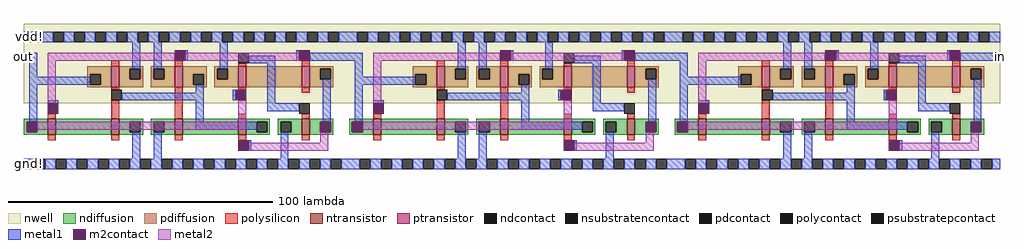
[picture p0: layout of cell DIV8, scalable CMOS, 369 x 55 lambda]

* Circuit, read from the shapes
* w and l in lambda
.subckt DIV8 gnd! in out vdd!
M1 n1 n2 out gnd! nfet w=6 l=3
M2 gnd! n3 n1 gnd! nfet w=6 l=3
M3 n4 n2 gnd! gnd! nfet w=6 l=3
M4 n3 n5 n4 gnd! nfet w=6 l=3
M5 n5 out gnd! gnd! nfet w=6 l=3
M6 n6 n7 n2 gnd! nfet w=6 l=3
M7 gnd! n8 n6 gnd! nfet w=6 l=3
M8 n9 n7 gnd! gnd! nfet w=6 l=3
M9 n8 n10 n9 gnd! nfet w=6 l=3
M10 n10 n2 gnd! gnd! nfet w=6 l=3
M11 n11 in n7 gnd! nfet w=6 l=3
M12 gnd! n12 n11 gnd! nfet w=6 l=3
M13 n13 in gnd! gnd! nfet w=6 l=3
M14 n12 n14 n13 gnd! nfet w=6 l=3
M15 n14 n7 gnd! gnd! nfet w=6 l=3
M16 vdd! n3 out vdd! pfet w=8 l=3
M17 n3 n2 vdd! vdd! pfet w=8 l=3
M18 n15 out vdd! vdd! pfet w=8 l=3
M19 n5 n2 n15 vdd! pfet w=8 l=3
M20 vdd! n8 n2 vdd! pfet w=8 l=3
M21 n8 n7 vdd! vdd! pfet w=8 l=3
M22 n16 n2 vdd! vdd! pfet w=8 l=3
M23 n10 n7 n16 vdd! pfet w=8 l=3
M24 vdd! n12 n7 vdd! pfet w=8 l=3
M25 n12 in vdd! vdd! pfet w=8 l=3
M26 n17 n7 vdd! vdd! pfet w=8 l=3
M27 n14 in n17 vdd! pfet w=8 l=3
.ends

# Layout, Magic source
magic
tech scmos
<< nwell >>
rect -134 -3 235 27
<< ntransistor >>
rect -125 -15 -122 -9
rect -101 -15 -98 -9
rect -77 -15 -74 -9
rect -53 -15 -50 -9
rect -29 -15 -26 -9
rect -2 -15 1 -9
rect 22 -15 25 -9
rect 46 -15 49 -9
rect 70 -15 73 -9
rect 94 -15 97 -9
rect 121 -15 124 -9
rect 145 -15 148 -9
rect 169 -15 172 -9
rect 193 -15 196 -9
rect 217 -15 220 -9
<< ptransistor >>
rect -101 3 -98 11
rect -77 3 -74 11
rect -53 3 -50 11
rect -29 3 -26 11
rect 22 3 25 11
rect 46 3 49 11
rect 70 3 73 11
rect 94 3 97 11
rect 145 3 148 11
rect 169 3 172 11
rect 193 3 196 11
rect 217 3 220 11
<< ndiffusion >>
rect -134 -10 -125 -9
rect -134 -14 -133 -10
rect -129 -14 -125 -10
rect -134 -15 -125 -14
rect -122 -15 -101 -9
rect -98 -10 -89 -9
rect -98 -14 -94 -10
rect -90 -14 -89 -10
rect -98 -15 -89 -14
rect -86 -10 -77 -9
rect -86 -14 -85 -10
rect -81 -14 -77 -10
rect -86 -15 -77 -14
rect -74 -15 -53 -9
rect -50 -10 -41 -9
rect -50 -14 -46 -10
rect -42 -14 -41 -10
rect -50 -15 -41 -14
rect -38 -10 -29 -9
rect -38 -14 -37 -10
rect -33 -14 -29 -10
rect -38 -15 -29 -14
rect -26 -10 -17 -9
rect -26 -14 -22 -10
rect -18 -14 -17 -10
rect -26 -15 -17 -14
rect -11 -10 -2 -9
rect -11 -14 -10 -10
rect -6 -14 -2 -10
rect -11 -15 -2 -14
rect 1 -15 22 -9
rect 25 -10 34 -9
rect 25 -14 29 -10
rect 33 -14 34 -10
rect 25 -15 34 -14
rect 37 -10 46 -9
rect 37 -14 38 -10
rect 42 -14 46 -10
rect 37 -15 46 -14
rect 49 -15 70 -9
rect 73 -10 82 -9
rect 73 -14 77 -10
rect 81 -14 82 -10
rect 73 -15 82 -14
rect 85 -10 94 -9
rect 85 -14 86 -10
rect 90 -14 94 -10
rect 85 -15 94 -14
rect 97 -10 106 -9
rect 97 -14 101 -10
rect 105 -14 106 -10
rect 97 -15 106 -14
rect 112 -10 121 -9
rect 112 -14 113 -10
rect 117 -14 121 -10
rect 112 -15 121 -14
rect 124 -15 145 -9
rect 148 -10 157 -9
rect 148 -14 152 -10
rect 156 -14 157 -10
rect 148 -15 157 -14
rect 160 -10 169 -9
rect 160 -14 161 -10
rect 165 -14 169 -10
rect 160 -15 169 -14
rect 172 -15 193 -9
rect 196 -10 205 -9
rect 196 -14 200 -10
rect 204 -14 205 -10
rect 196 -15 205 -14
rect 208 -10 217 -9
rect 208 -14 209 -10
rect 213 -14 217 -10
rect 208 -15 217 -14
rect 220 -10 229 -9
rect 220 -14 224 -10
rect 228 -14 229 -10
rect 220 -15 229 -14
<< pdiffusion >>
rect -110 8 -101 11
rect -110 4 -109 8
rect -105 4 -101 8
rect -110 3 -101 4
rect -98 10 -89 11
rect -98 6 -94 10
rect -90 6 -89 10
rect -98 3 -89 6
rect -86 10 -77 11
rect -86 6 -85 10
rect -81 6 -77 10
rect -86 3 -77 6
rect -74 8 -65 11
rect -74 4 -70 8
rect -66 4 -65 8
rect -74 3 -65 4
rect -62 10 -53 11
rect -62 6 -61 10
rect -57 6 -53 10
rect -62 3 -53 6
rect -50 3 -29 11
rect -26 10 -17 11
rect -26 6 -22 10
rect -18 6 -17 10
rect -26 3 -17 6
rect 13 8 22 11
rect 13 4 14 8
rect 18 4 22 8
rect 13 3 22 4
rect 25 10 34 11
rect 25 6 29 10
rect 33 6 34 10
rect 25 3 34 6
rect 37 10 46 11
rect 37 6 38 10
rect 42 6 46 10
rect 37 3 46 6
rect 49 8 58 11
rect 49 4 53 8
rect 57 4 58 8
rect 49 3 58 4
rect 61 10 70 11
rect 61 6 62 10
rect 66 6 70 10
rect 61 3 70 6
rect 73 3 94 11
rect 97 10 106 11
rect 97 6 101 10
rect 105 6 106 10
rect 97 3 106 6
rect 136 8 145 11
rect 136 4 137 8
rect 141 4 145 8
rect 136 3 145 4
rect 148 10 157 11
rect 148 6 152 10
rect 156 6 157 10
rect 148 3 157 6
rect 160 10 169 11
rect 160 6 161 10
rect 165 6 169 10
rect 160 3 169 6
rect 172 8 181 11
rect 172 4 176 8
rect 180 4 181 8
rect 172 3 181 4
rect 184 10 193 11
rect 184 6 185 10
rect 189 6 193 10
rect 184 3 193 6
rect 196 3 217 11
rect 220 10 229 11
rect 220 6 224 10
rect 228 6 229 10
rect 220 3 229 6
<< ndcontact >>
rect -133 -14 -129 -10
rect -94 -14 -90 -10
rect -85 -14 -81 -10
rect -46 -14 -42 -10
rect -37 -14 -33 -10
rect -22 -14 -18 -10
rect -10 -14 -6 -10
rect 29 -14 33 -10
rect 38 -14 42 -10
rect 77 -14 81 -10
rect 86 -14 90 -10
rect 101 -14 105 -10
rect 113 -14 117 -10
rect 152 -14 156 -10
rect 161 -14 165 -10
rect 200 -14 204 -10
rect 209 -14 213 -10
rect 224 -14 228 -10
<< pdcontact >>
rect -109 4 -105 8
rect -94 6 -90 10
rect -85 6 -81 10
rect -70 4 -66 8
rect -61 6 -57 10
rect -22 6 -18 10
rect 14 4 18 8
rect 29 6 33 10
rect 38 6 42 10
rect 53 4 57 8
rect 62 6 66 10
rect 101 6 105 10
rect 137 4 141 8
rect 152 6 156 10
rect 161 6 165 10
rect 176 4 180 8
rect 185 6 189 10
rect 224 6 228 10
<< psubstratepcontact >>
rect -130 -28 -126 -24
rect -122 -28 -118 -24
rect -114 -28 -110 -24
rect -106 -28 -102 -24
rect -98 -28 -94 -24
rect -90 -28 -86 -24
rect -82 -28 -78 -24
rect -74 -28 -70 -24
rect -66 -28 -62 -24
rect -58 -28 -54 -24
rect -50 -28 -46 -24
rect -42 -28 -38 -24
rect -34 -28 -30 -24
rect -26 -28 -22 -24
rect -18 -28 -14 -24
rect -7 -28 -3 -24
rect 1 -28 5 -24
rect 9 -28 13 -24
rect 17 -28 21 -24
rect 25 -28 29 -24
rect 33 -28 37 -24
rect 41 -28 45 -24
rect 49 -28 53 -24
rect 57 -28 61 -24
rect 65 -28 69 -24
rect 73 -28 77 -24
rect 81 -28 85 -24
rect 89 -28 93 -24
rect 97 -28 101 -24
rect 105 -28 109 -24
rect 116 -28 120 -24
rect 124 -28 128 -24
rect 132 -28 136 -24
rect 140 -28 144 -24
rect 148 -28 152 -24
rect 156 -28 160 -24
rect 164 -28 168 -24
rect 172 -28 176 -24
rect 180 -28 184 -24
rect 188 -28 192 -24
rect 196 -28 200 -24
rect 204 -28 208 -24
rect 212 -28 216 -24
rect 220 -28 224 -24
rect 228 -28 232 -24
<< nsubstratencontact >>
rect -131 20 -127 24
rect -123 20 -119 24
rect -115 20 -111 24
rect -107 20 -103 24
rect -99 20 -95 24
rect -91 20 -87 24
rect -83 20 -79 24
rect -75 20 -71 24
rect -67 20 -63 24
rect -59 20 -55 24
rect -51 20 -47 24
rect -43 20 -39 24
rect -35 20 -31 24
rect -27 20 -23 24
rect -19 20 -15 24
rect -8 20 -4 24
rect 0 20 4 24
rect 8 20 12 24
rect 16 20 20 24
rect 24 20 28 24
rect 32 20 36 24
rect 40 20 44 24
rect 48 20 52 24
rect 56 20 60 24
rect 64 20 68 24
rect 72 20 76 24
rect 80 20 84 24
rect 88 20 92 24
rect 96 20 100 24
rect 104 20 108 24
rect 115 20 119 24
rect 123 20 127 24
rect 131 20 135 24
rect 139 20 143 24
rect 147 20 151 24
rect 155 20 159 24
rect 163 20 167 24
rect 171 20 175 24
rect 179 20 183 24
rect 187 20 191 24
rect 195 20 199 24
rect 203 20 207 24
rect 211 20 215 24
rect 219 20 223 24
rect 227 20 231 24
<< polysilicon >>
rect -101 11 -98 13
rect -77 11 -74 13
rect -53 11 -50 12
rect -29 11 -26 13
rect 22 11 25 13
rect 46 11 49 13
rect 70 11 73 12
rect 94 11 97 13
rect 145 11 148 13
rect 169 11 172 13
rect 193 11 196 12
rect 217 11 220 13
rect -101 2 -98 3
rect -125 -9 -122 -7
rect -101 -9 -98 -2
rect -77 -9 -74 3
rect -53 2 -50 3
rect -29 1 -26 3
rect 22 2 25 3
rect -53 -9 -50 -7
rect -29 -9 -26 -7
rect -2 -9 1 -7
rect 22 -9 25 -2
rect 46 -9 49 3
rect 70 2 73 3
rect 94 1 97 3
rect 145 2 148 3
rect 70 -9 73 -7
rect 94 -9 97 -7
rect 121 -9 124 -7
rect 145 -9 148 -2
rect 169 -9 172 3
rect 193 2 196 3
rect 217 1 220 3
rect 193 -9 196 -7
rect 217 -9 220 -7
rect -125 -17 -122 -15
rect -101 -17 -98 -15
rect -77 -17 -74 -15
rect -53 -17 -50 -15
rect -29 -17 -26 -15
rect -2 -17 1 -15
rect 22 -17 25 -15
rect 46 -17 49 -15
rect 70 -17 73 -15
rect 94 -17 97 -15
rect 121 -17 124 -15
rect 145 -17 148 -15
rect 169 -17 172 -15
rect 193 -17 196 -15
rect 217 -17 220 -15
<< polycontact >>
rect -77 13 -73 17
rect -53 12 -49 16
rect -30 13 -26 17
rect 46 13 50 17
rect 70 12 74 16
rect 93 13 97 17
rect 169 13 173 17
rect 193 12 197 16
rect 216 13 220 17
rect -101 -2 -97 2
rect -125 -7 -121 -3
rect -54 -2 -50 2
rect 22 -2 26 2
rect -30 -7 -26 -3
rect -2 -7 2 -3
rect 69 -2 73 2
rect 145 -2 149 2
rect 93 -7 97 -3
rect 121 -7 125 -3
rect 192 -2 196 2
rect 216 -7 220 -3
rect -53 -21 -49 -17
rect 70 -21 74 -17
rect 193 -21 197 -17
<< metal1 >>
rect -134 20 -131 24
rect -127 20 -123 24
rect -119 20 -115 24
rect -111 20 -107 24
rect -103 20 -99 24
rect -95 20 -91 24
rect -87 20 -83 24
rect -79 20 -75 24
rect -71 20 -67 24
rect -63 20 -59 24
rect -55 20 -51 24
rect -47 20 -43 24
rect -39 20 -35 24
rect -31 20 -27 24
rect -23 20 -19 24
rect -15 20 -8 24
rect -4 20 0 24
rect 4 20 8 24
rect 12 20 16 24
rect 20 20 24 24
rect 28 20 32 24
rect 36 20 40 24
rect 44 20 48 24
rect 52 20 56 24
rect 60 20 64 24
rect 68 20 72 24
rect 76 20 80 24
rect 84 20 88 24
rect 92 20 96 24
rect 100 20 104 24
rect 108 20 115 24
rect 119 20 123 24
rect 127 20 131 24
rect 135 20 139 24
rect 143 20 147 24
rect 151 20 155 24
rect 159 20 163 24
rect 167 20 171 24
rect 175 20 179 24
rect 183 20 187 24
rect 191 20 195 24
rect 199 20 203 24
rect 207 20 211 24
rect 215 20 219 24
rect 223 20 227 24
rect 231 20 235 24
rect -134 13 -129 16
rect -132 7 -129 13
rect -93 10 -90 20
rect -132 4 -109 7
rect -85 10 -82 20
rect -73 13 -72 17
rect -60 10 -57 20
rect -49 12 -39 15
rect -31 13 -30 17
rect -26 13 -6 16
rect -132 -10 -129 4
rect -69 1 -66 4
rect -97 -2 -66 1
rect -55 -2 -54 2
rect -125 -3 -121 -2
rect -69 -10 -66 -2
rect -42 -3 -39 12
rect -42 -6 -30 -3
rect -21 -10 -18 6
rect -9 7 -6 13
rect 30 10 33 20
rect -9 4 14 7
rect 38 10 41 20
rect 50 13 51 17
rect 63 10 66 20
rect 74 12 84 15
rect 92 13 93 17
rect 97 13 117 16
rect -9 -10 -6 4
rect 54 1 57 4
rect 26 -2 57 1
rect 68 -2 69 2
rect -2 -3 2 -2
rect 54 -10 57 -2
rect 81 -3 84 12
rect 81 -6 93 -3
rect 102 -10 105 6
rect 114 7 117 13
rect 153 10 156 20
rect 114 4 137 7
rect 161 10 164 20
rect 173 13 174 17
rect 186 10 189 20
rect 197 12 207 15
rect 215 13 216 17
rect 220 13 235 16
rect 114 -10 117 4
rect 177 1 180 4
rect 149 -2 180 1
rect 191 -2 192 2
rect 121 -3 125 -2
rect 177 -10 180 -2
rect 204 -3 207 12
rect 204 -6 216 -3
rect 225 -10 228 6
rect -93 -24 -90 -14
rect -69 -13 -46 -10
rect -85 -24 -82 -14
rect -49 -21 -48 -17
rect -37 -24 -34 -14
rect 30 -24 33 -14
rect 54 -13 77 -10
rect 38 -24 41 -14
rect 74 -21 75 -17
rect 86 -24 89 -14
rect 153 -24 156 -14
rect 177 -13 200 -10
rect 161 -24 164 -14
rect 197 -21 198 -17
rect 209 -24 212 -14
rect -134 -28 -130 -24
rect -126 -28 -122 -24
rect -118 -28 -114 -24
rect -110 -28 -106 -24
rect -102 -28 -98 -24
rect -94 -28 -90 -24
rect -86 -28 -82 -24
rect -78 -28 -74 -24
rect -70 -28 -66 -24
rect -62 -28 -58 -24
rect -54 -28 -50 -24
rect -46 -28 -42 -24
rect -38 -28 -34 -24
rect -30 -28 -26 -24
rect -22 -28 -18 -24
rect -14 -28 -7 -24
rect -3 -28 1 -24
rect 5 -28 9 -24
rect 13 -28 17 -24
rect 21 -28 25 -24
rect 29 -28 33 -24
rect 37 -28 41 -24
rect 45 -28 49 -24
rect 53 -28 57 -24
rect 61 -28 65 -24
rect 69 -28 73 -24
rect 77 -28 81 -24
rect 85 -28 89 -24
rect 93 -28 97 -24
rect 101 -28 105 -24
rect 109 -28 116 -24
rect 120 -28 124 -24
rect 128 -28 132 -24
rect 136 -28 140 -24
rect 144 -28 148 -24
rect 152 -28 156 -24
rect 160 -28 164 -24
rect 168 -28 172 -24
rect 176 -28 180 -24
rect 184 -28 188 -24
rect 192 -28 196 -24
rect 200 -28 204 -24
rect 208 -28 212 -24
rect 216 -28 220 -24
rect 224 -28 228 -24
rect 232 -28 235 -24
<< m2contact >>
rect -77 13 -73 17
rect -30 13 -26 17
rect -54 -2 -50 2
rect -125 -7 -121 -3
rect 46 13 50 17
rect 93 13 97 17
rect 69 -2 73 2
rect -2 -7 2 -3
rect 169 13 173 17
rect 216 13 220 17
rect 192 -2 196 2
rect 121 -7 125 -3
rect -133 -14 -129 -10
rect -22 -14 -18 -10
rect -10 -14 -6 -10
rect -53 -21 -49 -17
rect 101 -14 105 -10
rect 113 -14 117 -10
rect 70 -21 74 -17
rect 224 -14 228 -10
rect 193 -21 197 -17
<< metal2 >>
rect -125 13 -77 16
rect -73 13 -30 16
rect -2 13 46 16
rect 50 13 93 16
rect 121 13 169 16
rect 173 13 216 16
rect -125 -3 -122 13
rect -53 -10 -50 -2
rect -2 -3 1 13
rect 70 -10 73 -2
rect 121 -3 124 13
rect 193 -10 196 -2
rect -129 -13 -50 -10
rect -6 -13 73 -10
rect 117 -13 196 -10
rect -22 -18 -19 -14
rect -49 -21 -19 -18
rect 101 -18 104 -14
rect 74 -21 104 -18
rect 224 -18 227 -14
rect 197 -21 227 -18
<< labels >>
rlabel metal1 -134 13 -134 16 3 out
rlabel metal1 -132 22 -132 22 4 vdd!
rlabel metal1 -132 -26 -132 -26 2 gnd!
rlabel metal1 235 13 235 16 7 in
<< end >>
